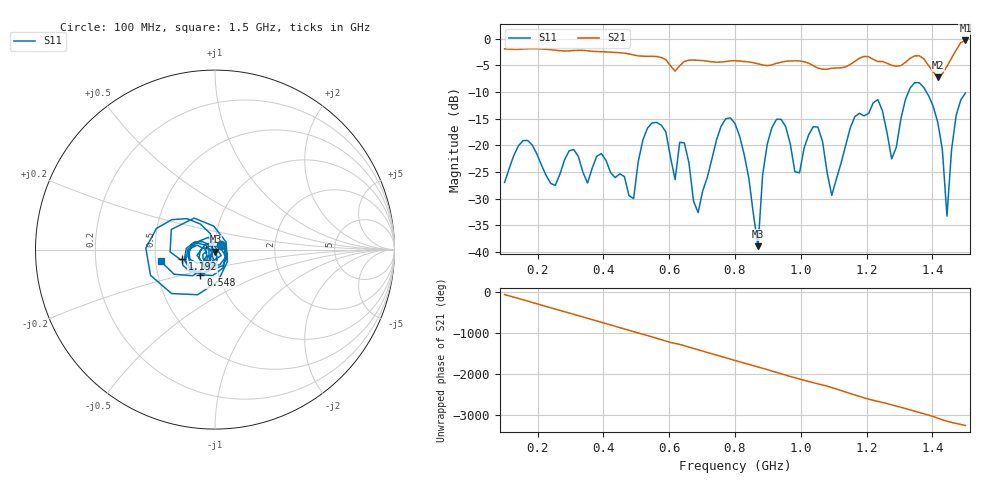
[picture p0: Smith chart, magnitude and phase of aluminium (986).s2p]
! NanoVNA-App
! Date: 2025-09-25 15:02:57
! Start: 100MHz Stop: 1,5GHz Points: 101
! S-Parameter data: F S11 S21 S12 S22
# Hz S RI R 50
!  Frequency  S11_Real  S11_Imag  S21_Real  S21_Imag  S12_Real  S12_Imag  S22_Real  S22_Imag
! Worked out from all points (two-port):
!   101 points, 100 MHz to 1.5 GHz, reference 50 ohm
!   highest |S21| = -0.35 dB at 1.5 GHz (marker M1); lowest = -7.2 dB at 1.416 GHz (marker M2)
!   |S21| within 3 dB of the highest: start of sweep to 558.3 MHz; 1.461 GHz to end of sweep (the widest 2 of 3)
!   lowest |S11| = -38.9 dB at 870 MHz (marker M3), VSWR 1.02, Z = 50.3 - j1.11 ohm
!   |S11| at or under -10 dB: start of sweep to 1.327 GHz; 1.382 GHz to end of sweep
!   S12 and S22 are empty: the file has one direction only
!   S11 on the Smith chart (normalised r, x): 100 MHz: 1.07, +0.06; 548 MHz: 0.82, -0.24; 1.192 GHz: 0.69, -0.08; 1.5 GHz: 0.53, -0.08
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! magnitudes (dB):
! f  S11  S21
! 100 MHz  -27.0  -1.9
! 156 MHz  -19.1  -2.0
! 338 MHz  -25.1  -2.2
! 492 MHz  -30.0  -3.1
! 548 MHz  -15.8  -3.3
! 576 MHz  -16.2  -3.5
! 646 MHz  -19.6  -4.3
! 688 MHz  -32.6  -4.1
! 800 MHz  -15.9  -4.1
! 870 MHz  -38.9  -4.7
! 912 MHz  -16.7  -4.9
! 996 MHz  -25.2  -4.2
! 1.038 GHz  -16.5  -5.1
! 1.094 GHz  -29.4  -5.6
! 1.192 GHz  -14.5  -3.4
! 1.234 GHz  -11.4  -4.3
! 1.276 GHz  -22.5  -5.0
! 1.346 GHz  -8.2  -3.2
! 1.416 GHz  -15.7  -7.2
! 1.444 GHz  -33.3  -5.2
! 1.472 GHz  -14.4  -2.2
! 1.5 GHz  -10.2  -0.3
